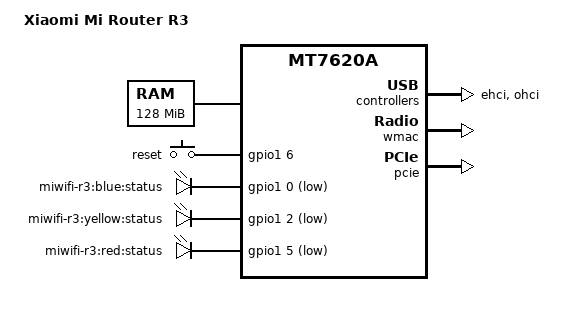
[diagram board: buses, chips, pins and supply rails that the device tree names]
/dts-v1/;

#include "mt7620a.dtsi"

#include <dt-bindings/gpio/gpio.h>
#include <dt-bindings/input/input.h>

/ {
	compatible = "xiaomi,miwifi-r3", "ralink,mt7620a-soc";
	model = "Xiaomi Mi Router R3";

	aliases {
		led-status = &led_status_blue;
	};

	memory@0 {
		device_type = "memory";
		reg = <0x0 0x8000000>;
	};

	chosen {
		bootargs = "console=ttyS0,115200";
	};

	gpio-keys-polled {
		compatible = "gpio-keys-polled";
		#address-cells = <1>;
		#size-cells = <0>;
		poll-interval = <20>;

		reset {
			label = "reset";
			gpios = <&gpio1 6 GPIO_ACTIVE_HIGH>;
			linux,code = <KEY_RESTART>;
		};
	};

	gpio-leds {
		compatible = "gpio-leds";

		led_status_blue: blue {
			label = "miwifi-r3:blue:status";
			gpios = <&gpio1 0 GPIO_ACTIVE_LOW>;
		};

		yellow {
			label = "miwifi-r3:yellow:status";
			gpios = <&gpio1 2 GPIO_ACTIVE_LOW>;
		};

		red {
			label = "miwifi-r3:red:status";
			gpios = <&gpio1 5 GPIO_ACTIVE_LOW>;
		};
	};

	nand {
		status = "okay";
		#address-cells = <1>;
		#size-cells = <1>;
		compatible = "mtk,mt7620-nand";

		partition@0 {
			label = "Bootloader";
			reg = <0x0 0x40000>;
			read-only;
		};

		partition@40000 {
			label = "Config";
			reg = <0x40000 0x40000>;
		};

		partition@80000 {
			label = "Bdata";
			reg = <0x80000 0x40000>;
			read-only;
		};

		factory: partition@0xc0000 {
			label = "Factory";
			reg = <0xc0000 0x40000>;
			read-only;
		};

		partition@100000 {
			label = "crash";
			reg = <0x100000 0x40000>;
			read-only;
		};

		partition@140000 {
			label = "crash_syslog";
			reg = <0x140000 0x40000>;
			read-only;
		};

		partition@180000 {
			label = "reserved0";
			reg = <0x180000 0x80000>;
			read-only;
		};

		partition@200000 {
			label = "kernel0_rsvd";
			reg = <0x200000 0x400000>;
		};

		partition@600000 {
			label = "kernel";
			reg = <0x600000 0x400000>;
		};

		/* ubi partition is the result of squashing
		 * next consequent stock partitions:
		 * - rootfs0 (rootfs partition for stock kernel0),
		 * - rootfs1 (rootfs partition for stock failsafe kernel1),
		 * - overlay (used as ubi overlay in stock fw)
		 * resulting 117,5MiB space for packages.
		 */
		partition@a00000 {
			label = "ubi";
			reg = <0xa00000 0x7600000>;
		};
	};
};

&gpio1 {
	status = "okay";
};

&ehci {
	status = "okay";
};

&ohci {
	status = "okay";
};

&ethernet {
	pinctrl-names = "default";
	pinctrl-0 = <&ephy_pins>;
	mtd-mac-address = <&factory 0x28>;
	mediatek,portmap = "llllw";
};

&wmac {
	ralink,mtd-eeprom = <&factory 0>;
};

&pcie {
	status = "okay";
};

&pcie0 {
	mt76@0,0 {
		reg = <0x0000 0 0 0 0>;
		mediatek,mtd-eeprom = <&factory 0x8000>;
		ieee80211-freq-limit = <5000000 6000000>;
	};
};

&pinctrl {
	state_default: pinctrl0 {
		gpio {
			ralink,group = "rgmii1";
			ralink,function = "gpio";
		};

		pa {
			ralink,group = "pa";
			ralink,function = "pa";
		};
	};
};
